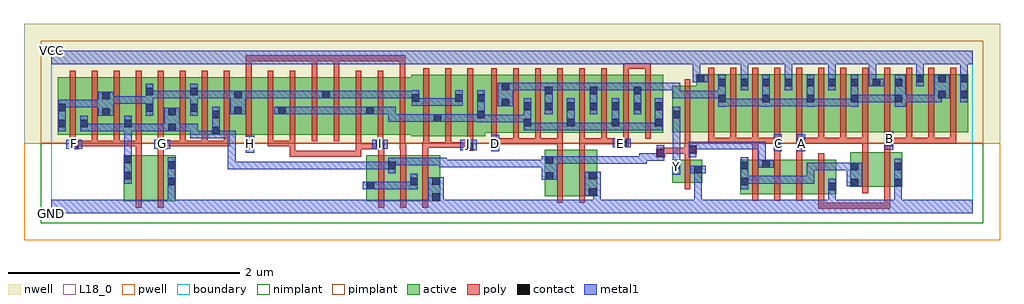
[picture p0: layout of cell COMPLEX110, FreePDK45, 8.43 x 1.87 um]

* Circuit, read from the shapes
.subckt COMPLEX110 A B C D E F G GND H I J VCC Y
M1 n1 F n2 VSUBS nfet w=0.4u l=0.05u
M2 GND G n1 VSUBS nfet w=0.4u l=0.05u
M3 n2 I n3 VSUBS nfet w=0.4u l=0.05u
M4 n3 H n2 VSUBS nfet w=0.4u l=0.05u
M5 GND J n3 VSUBS nfet w=0.4u l=0.05u
M6 n4 D n2 VSUBS nfet w=0.4u l=0.05u
M7 GND E n4 VSUBS nfet w=0.4u l=0.05u
M8 GND n2 Y VSUBS nfet w=0.2u l=0.05u
M9 n2 C n5 VSUBS nfet w=0.3u l=0.05u
M10 n6 C n2 VSUBS nfet w=0.3u l=0.05u
M11 n7 A n6 VSUBS nfet w=0.3u l=0.05u
M12 GND B n7 VSUBS nfet w=0.3u l=0.05u
M13 n8 A n5 VSUBS nfet w=0.3u l=0.05u
M14 GND B n8 VSUBS nfet w=0.3u l=0.05u
M15 n2 F n9 n10 pfet w=0.5u l=0.05u m=4
M16 n2 G n9 n10 pfet w=0.5u l=0.05u m=4
M17 n11 H n9 n10 pfet w=0.5u l=0.05u
M18 n12 I n11 n10 pfet w=0.5u l=0.05u
M19 n13 I n12 n10 pfet w=0.5u l=0.05u
M20 n9 H n13 n10 pfet w=0.5u l=0.05u
M21 n14 H n9 n10 pfet w=0.5u l=0.05u
M22 n12 I n14 n10 pfet w=0.5u l=0.05u
M23 n15 I n12 n10 pfet w=0.5u l=0.05u
M24 n9 H n15 n10 pfet w=0.5u l=0.05u
M25 n12 J n9 n10 pfet w=0.533u l=0.05u m=3
M26 n16 D n12 n10 pfet w=0.5u l=0.05u m=4
M27 n16 E n12 n10 pfet w=0.5u l=0.05u m=4
M28 VCC n2 Y n10 pfet w=0.4u l=0.05u
M29 n16 C VCC n10 pfet w=0.5u l=0.05u m=4
M30 n16 A VCC n10 pfet w=0.5u l=0.05u m=4
M31 n16 B VCC n10 pfet w=0.5u l=0.05u m=4
.ends

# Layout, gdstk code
import gdstk
lib = gdstk.Library(unit=1e-6, precision=1e-09)
def R(c, l, rs):  # rectangles x0, y0, x1, y1
    for r in rs: c.add(gdstk.rectangle(r[:2], r[2:], *l))
def A(c, l, x, y, w, h, nx, ny, dx, dy):  # array of equal rectangles
    R(c, l, [(x+i*dx, y+j*dy, x+i*dx+w, y+j*dy+h) for i in range(nx) for j in range(ny)])
active = (1, 0)
pwell = (2, 0)
nwell = (3, 0)
nimplant = (4, 0)
pimplant = (5, 0)
poly = (9, 0)
contact = (10, 0)
metal1 = (11, 0)
L18_0 = (18, 0)
boundary = (235, 0)

complex110 = lib.new_cell('COMPLEX110')
A(complex110, active, 0.055, 0.675, 0.265, 0.5, 3, 1, 0.19, 0)
A(complex110, active, 0.245, 0.675, 0.075, 0.395, 4, 1, 0.38, 0)
A(complex110, active, 1.005, 0.675, 0.265, 0.5, 3, 1, 0.19, 0)
A(complex110, active, 1.575, 0.675, 0.225, 0.5, 4, 1, 0.38, 0)
A(complex110, active, 1.8, 0.675, 0.23, 0.5, 3, 1, 0.38, 0)
R(complex110, active, [(0.625,0.1,0.85,0.5), (0.85,0.1,1.075,0.5), (1,0.1,1.075,0.5), (2.72,0.1,2.98,0.5), (2.905,0.1,3.17,0.5), (3.095,0.1,3.36,0.5), (3.285,0.1,3.36,0.5), (4.265,0.145,4.49,0.545), (4.49,0.145,4.715,0.545), (4.64,0.145,4.715,0.545), (0.625,0.147,0.73,0.5), (2.72,0.147,2.795,0.5), (2.905,0.147,2.98,0.492), (3.095,0.147,3.17,0.492), (4.265,0.147,4.37,0.545), (5.95,0.162,6.21,0.462), (6.135,0.162,6.365,0.462), (6.365,0.162,6.555,0.462), (6.555,0.162,6.78,0.462), (6.705,0.162,6.78,0.462), (5.95,0.2,6.025,0.462), (6.9,0.225,6.975,0.525), (6.9,0.225,7.125,0.525), (7.125,0.225,7.35,0.525), (7.275,0.225,7.35,0.525), (6.135,0.247,6.21,0.462), (5.365,0.262,5.44,0.462), (5.365,0.262,5.625,0.462), (5.55,0.262,5.625,0.462), (3.11,0.662,3.375,1.195), (3.3,0.662,3.56,1.195), (3.485,0.662,3.75,1.195), (0.055,0.675,0.13,1.157), (0.625,0.675,0.885,1.175), (0.81,0.675,1.08,1.175), (1.195,0.675,1.27,1.167), (1.955,0.675,2.03,1.07), (2.715,0.675,2.79,1.07), (2.94,0.675,3.185,1.175), (3.675,0.695,3.96,1.195), (3.885,0.695,4.15,1.195), (4.075,0.695,4.335,1.195), (4.075,0.695,4.15,1.07), (4.26,0.695,4.525,1.195), (4.45,0.695,4.72,1.195), (4.45,0.695,4.525,1.07), (4.645,0.695,4.91,1.195), (4.645,0.695,4.72,1.157), (4.835,0.695,5.1,1.195), (4.835,0.695,4.91,1.07), (5.025,0.695,5.285,1.195), (5.21,0.695,5.285,1.07), (5.365,0.7,5.645,1.1), (5.365,0.7,5.44,1.057), (5.57,0.7,5.645,1.2), (5.57,0.7,5.83,1.2), (5.755,0.7,6.025,1.2), (5.95,0.7,6.21,1.2), (5.95,0.7,6.025,1.167), (6.135,0.7,6.405,1.2), (6.135,0.7,6.21,1.167), (6.33,0.7,6.595,1.2), (6.52,0.7,6.78,1.2), (6.52,0.7,6.595,1.167), (6.705,0.7,6.975,1.2), (6.9,0.7,6.975,1.2), (6.9,0.7,7.165,1.2), (7.09,0.7,7.355,1.2), (7.28,0.7,7.54,1.2), (7.465,0.7,7.54,1.2), (7.465,0.7,7.73,1.2), (7.655,0.7,7.92,1.2), (7.845,0.7,7.92,1.2), (6.33,0.715,6.405,1.2), (7.09,0.747,7.165,1.2), (2.335,0.762,2.41,1.157), (3.11,0.762,3.185,1.157), (5.025,0.762,5.1,1.157), (1.575,0.765,1.65,1.167), (3.3,0.775,3.375,1.07), (3.485,0.775,3.56,1.19), (0.81,0.802,0.885,1.167), (0.435,0.807,0.51,1.167), (3.675,0.807,3.75,1.157), (3.885,0.807,3.96,1.157), (4.26,0.807,4.335,1.157), (5.755,0.807,5.83,1.165), (6.705,0.807,6.78,1.167), (7.28,0.807,7.355,1.2), (7.655,0.807,7.73,1.2)])
R(complex110, pwell, [(-0.235,-0.235,8.195,0.602)])
R(complex110, nwell, [(-0.235,0.602,8.195,1.635)])
R(complex110, nimplant, [(-0.09,-0.09,8.05,0.602)])
R(complex110, pimplant, [(-0.09,0.602,8.05,1.49)])
A(complex110, poly, 2.825, 0.045, 0.05, 0.51, 3, 1, 0.19, 0)
A(complex110, poly, 6.055, 0.107, 0.05, 0.41, 4, 1, 0.19, 0)
A(complex110, poly, 3.215, 0.562, 0.05, 0.095, 3, 1, 0.19, 0)
A(complex110, poly, 0.16, 0.575, 0.05, 0.095, 11, 1, 0.19, 0)
A(complex110, poly, 3.8, 0.595, 0.05, 0.095, 7, 1, 0.19, 0)
A(complex110, poly, 4.18, 0.595, 0.05, 0.05, 3, 1, 0.19, 0)
A(complex110, poly, 5.675, 0.6, 0.05, 0.095, 12, 1, 0.19, 0)
A(complex110, poly, 5.675, 0.6, 0.05, 0.05, 3, 1, 0.19, 0)
A(complex110, poly, 3.215, 0.607, 0.05, 0.643, 3, 1, 0.19, 0)
A(complex110, poly, 0.16, 0.62, 0.05, 0.61, 16, 1, 0.19, 0)
A(complex110, poly, 3.8, 0.64, 0.05, 0.61, 8, 1, 0.19, 0)
A(complex110, poly, 5.675, 0.645, 0.05, 0.61, 12, 1, 0.19, 0)
R(complex110, poly, [(6.625,0.037,6.675,0.087), (6.625,0.037,6.675,0.087), (6.625,0.037,6.675,0.087), (6.625,0.037,6.675,0.157), (6.625,0.037,6.922,0.087), (6.872,0.037,6.922,0.087), (6.872,0.037,6.922,0.087), (6.872,0.037,6.922,0.087), (6.872,0.037,7.112,0.087), (7.062,0.037,7.112,0.087), (7.062,0.037,7.112,0.087), (7.062,0.037,7.112,0.087), (7.062,0.037,7.245,0.087), (7.195,0.037,7.245,0.087), (7.195,0.037,7.245,0.22), (0.73,0.045,0.78,0.555), (0.92,0.045,0.97,0.555), (4.37,0.09,4.42,0.6), (4.56,0.09,4.61,0.6), (7.005,0.17,7.055,0.58), (7.195,0.17,7.245,0.58), (5.47,0.207,5.52,0.517), (5.47,0.467,5.52,0.562), (6.055,0.467,6.105,0.65), (6.245,0.467,6.295,0.625), (6.435,0.467,6.485,0.625), (5.227,0.482,5.302,0.557), (2.06,0.487,2.11,0.537), (2.06,0.487,2.11,0.537), (2.06,0.487,2.3,0.537), (2.06,0.487,2.11,0.625), (2.25,0.487,2.3,0.537), (2.25,0.487,2.547,0.537), (2.497,0.487,2.547,0.537), (2.497,0.487,2.547,0.537), (2.497,0.487,2.547,0.537), (2.497,0.487,2.68,0.537), (2.63,0.487,2.68,0.6), (0.73,0.505,0.78,0.625), (0.92,0.505,0.97,0.6), (2.825,0.505,2.875,0.6), (3.015,0.505,3.065,0.6), (3.205,0.505,3.255,0.612), (5.252,0.507,5.302,0.557), (5.252,0.507,5.302,0.562), (5.252,0.512,5.517,0.562), (5.467,0.512,5.517,0.562), (5.467,0.512,5.517,0.562), (5.467,0.512,5.577,0.587), (7.005,0.53,7.055,0.65), (7.195,0.53,7.245,0.625), (3.57,0.537,3.645,0.612), (5.47,0.537,5.52,0.695), (0.16,0.55,0.237,0.625), (0.92,0.55,0.997,0.625), (1.68,0.55,1.755,0.625), (2.63,0.55,2.68,0.6), (2.63,0.55,2.68,0.6), (2.63,0.55,2.68,0.67), (2.63,0.55,2.852,0.6), (2.802,0.55,2.852,0.6), (2.802,0.55,2.852,0.6), (2.802,0.55,2.877,0.625), (3.01,0.55,3.06,0.67), (3.01,0.55,3.065,0.6), (4.37,0.55,4.42,0.645), (4.56,0.55,4.61,0.645), (3.205,0.562,3.265,0.612), (3.215,0.562,3.265,0.612), (3.215,0.562,3.265,0.612), (3.215,0.562,3.455,0.612), (3.405,0.562,3.455,0.612), (3.405,0.562,3.455,0.612), (3.405,0.562,3.455,0.612), (3.405,0.562,3.62,0.612), (3.8,0.57,3.875,0.645), (4.9,0.57,4.99,0.645), (0.187,0.575,0.24,0.625), (0.19,0.575,0.24,0.625), (0.19,0.575,0.4,0.625), (0.35,0.575,0.4,0.625), (0.35,0.575,0.59,0.625), (0.54,0.575,0.59,0.625), (0.54,0.575,0.59,0.625), (0.54,0.575,0.59,0.625), (0.54,0.575,0.78,0.625), (0.73,0.575,0.78,0.625), (0.73,0.575,0.78,0.625), (0.73,0.575,0.78,0.625), (0.947,0.575,1.16,0.625), (1.11,0.575,1.16,0.625), (1.11,0.575,1.16,0.625), (1.11,0.575,1.16,0.625), (1.11,0.575,1.35,0.625), (1.3,0.575,1.35,0.625), (1.3,0.575,1.35,0.625), (1.3,0.575,1.35,0.625), (1.3,0.575,1.54,0.625), (1.49,0.575,1.54,0.625), (1.49,0.575,1.54,0.625), (1.49,0.575,1.54,0.625), (1.87,0.575,1.92,0.625), (1.87,0.575,1.92,0.625), (1.87,0.575,1.92,0.625), (1.87,0.575,2.11,0.625), (2.82,0.575,2.87,0.67), (6.237,0.575,6.312,0.65), (6.435,0.575,6.51,0.65), (7.195,0.575,7.27,0.65), (3.825,0.595,3.875,0.645), (3.825,0.595,3.875,0.645), (3.825,0.595,4.04,0.645), (3.99,0.595,4.04,0.645), (3.99,0.595,4.04,0.645), (3.99,0.595,4.04,0.645), (3.99,0.595,4.23,0.645), (4.18,0.595,4.23,0.645), (4.18,0.595,4.23,0.645), (4.18,0.595,4.42,0.645), (4.56,0.595,4.61,0.645), (4.56,0.595,4.61,0.645), (4.56,0.595,4.8,0.645), (4.75,0.595,4.8,0.645), (4.75,0.595,4.8,0.645), (4.75,0.595,4.8,0.645), (4.75,0.595,4.95,0.645), (5.675,0.6,5.725,0.65), (5.675,0.6,5.725,0.65), (5.675,0.6,5.915,0.65), (5.865,0.6,6.105,0.65), (6.055,0.6,6.105,0.65), (6.055,0.6,6.105,0.65), (6.055,0.6,6.287,0.65), (6.237,0.6,6.287,0.65), (6.237,0.6,6.287,0.65), (6.46,0.6,6.51,0.65), (6.46,0.6,6.51,0.65), (6.46,0.6,6.675,0.65), (6.625,0.6,6.675,0.65), (6.625,0.6,6.675,0.65), (6.625,0.6,6.675,0.65), (6.625,0.6,6.865,0.65), (6.815,0.6,6.865,0.65), (6.815,0.6,6.865,0.65), (6.815,0.6,6.865,0.65), (6.815,0.6,7.055,0.65), (7.005,0.6,7.055,0.65), (7.22,0.6,7.435,0.65), (7.385,0.6,7.435,0.65), (7.385,0.6,7.435,0.65), (7.385,0.6,7.435,0.65), (7.385,0.6,7.625,0.65), (7.575,0.6,7.625,0.65), (7.575,0.6,7.625,0.65), (7.575,0.6,7.625,0.65), (7.575,0.6,7.815,0.65), (7.765,0.6,7.815,0.65), (7.765,0.6,7.815,0.65), (7.765,0.6,7.815,0.65), (5.47,0.645,5.52,1.155), (1.68,1.18,1.73,1.362), (2.25,1.18,2.3,1.362), (2.44,1.18,2.49,1.362), (3.01,1.18,3.06,1.362), (4.94,1.2,4.99,1.295), (5.13,1.2,5.18,1.295), (4.94,1.245,4.99,1.295), (4.94,1.245,4.99,1.295), (4.94,1.245,4.99,1.295), (4.94,1.245,5.18,1.295), (5.13,1.245,5.18,1.295), (1.68,1.312,1.73,1.362), (1.68,1.312,1.73,1.362), (1.68,1.312,1.73,1.362), (1.68,1.312,1.977,1.362), (1.927,1.312,1.977,1.362), (1.927,1.312,1.977,1.362), (1.927,1.312,1.977,1.362), (1.927,1.312,2.167,1.362), (2.117,1.312,2.167,1.362), (2.117,1.312,2.3,1.362), (2.25,1.312,2.3,1.362), (2.25,1.312,2.3,1.362), (2.25,1.312,2.3,1.362), (2.25,1.312,2.49,1.362), (2.44,1.312,2.49,1.362), (2.44,1.312,2.49,1.362), (2.44,1.312,2.49,1.362), (2.44,1.312,2.68,1.362), (2.63,1.312,2.68,1.362), (2.63,1.312,2.68,1.362), (2.63,1.312,2.68,1.362), (2.63,1.312,2.812,1.362), (2.762,1.312,2.812,1.362), (2.762,1.312,2.812,1.362), (2.762,1.312,2.812,1.362), (2.762,1.312,3.06,1.362), (3.01,1.312,3.06,1.362), (3.01,1.312,3.06,1.362), (3.01,1.312,3.06,1.362)])
A(complex110, contact, 6.525, 0.955, 0.065, 0.065, 3, 1, 0.38, 0)
A(complex110, contact, 6.905, 1.095, 0.065, 0.065, 3, 1, 0.19, 0)
A(complex110, contact, 7.47, 1.13, 0.065, 0.065, 3, 1, 0.19, 0)
R(complex110, contact, [(3.29,0.105,3.355,0.17), (4.645,0.15,4.71,0.215), (6.71,0.197,6.775,0.262), (2.725,0.205,2.79,0.27), (6.905,0.23,6.97,0.295), (7.28,0.23,7.345,0.295), (3.1,0.24,3.165,0.305), (5.955,0.24,6.02,0.305), (1.005,0.242,1.07,0.307), (3.29,0.245,3.355,0.31), (4.27,0.287,4.335,0.352), (0.63,0.29,0.695,0.355), (4.645,0.29,4.71,0.355), (5.555,0.345,5.62,0.41), (6.905,0.37,6.97,0.435), (7.28,0.37,7.345,0.435), (2.91,0.377,2.975,0.442), (5.37,0.38,5.435,0.445), (5.955,0.38,6.02,0.445), (1.005,0.382,1.07,0.447), (6.14,0.392,6.205,0.457), (4.27,0.427,4.335,0.492), (0.63,0.43,0.695,0.495), (5.232,0.487,5.297,0.552), (5.507,0.517,5.572,0.582), (3.575,0.542,3.64,0.607), (0.167,0.555,0.232,0.62), (0.927,0.555,0.992,0.62), (1.685,0.555,1.75,0.62), (2.807,0.555,2.872,0.62), (3.805,0.575,3.87,0.64), (4.905,0.575,4.97,0.64), (6.242,0.58,6.307,0.645), (6.44,0.58,6.505,0.645), (7.2,0.58,7.265,0.645), (1.39,0.68,1.455,0.745), (1.01,0.705,1.075,0.77), (0.06,0.74,0.125,0.805), (0.25,0.74,0.315,0.805), (0.63,0.74,0.695,0.805), (4.08,0.75,4.145,0.815), (4.455,0.75,4.52,0.815), (4.84,0.75,4.905,0.815), (5.215,0.75,5.28,0.815), (3.305,0.787,3.37,0.852), (1.39,0.82,1.455,0.885), (3.68,0.82,3.745,0.885), (5.37,0.82,5.435,0.885), (0.44,0.842,0.505,0.907), (1.01,0.845,1.075,0.91), (1.58,0.852,1.645,0.917), (1.96,0.852,2.025,0.917), (2.72,0.852,2.785,0.917), (0.815,0.877,0.88,0.942), (1.2,0.877,1.265,0.942), (0.06,0.88,0.125,0.945), (4.265,0.887,4.33,0.952), (4.65,0.887,4.715,0.952), (5.03,0.887,5.095,0.952), (4.08,0.89,4.145,0.955), (4.455,0.89,4.52,0.955), (4.84,0.89,4.905,0.955), (5.215,0.89,5.28,0.955), (3.89,0.922,3.955,0.987), (5.76,0.955,5.825,1.02), (6.14,0.955,6.205,1.02), (3.115,0.96,3.18,1.025), (3.49,0.96,3.555,1.025), (3.68,0.96,3.745,1.025), (0.44,0.982,0.505,1.047), (2.34,0.99,2.405,1.055), (7.66,0.99,7.725,1.055), (7.85,0.99,7.915,1.055), (1.58,0.992,1.645,1.057), (0.815,1.017,0.88,1.082), (1.2,1.017,1.265,1.082), (4.265,1.027,4.33,1.092), (4.65,1.027,4.715,1.092), (5.03,1.027,5.095,1.092), (3.89,1.062,3.955,1.127), (5.76,1.095,5.825,1.16), (5.955,1.095,6.02,1.16), (6.14,1.095,6.205,1.16), (6.335,1.095,6.4,1.16), (6.525,1.095,6.59,1.16), (6.71,1.095,6.775,1.16), (5.575,1.13,5.64,1.195)])
R(complex110, metal1, [(0,0,7.96,0.115), (1.005,0.05,1.07,0.272), (3.325,0.05,3.39,0.17), (4.68,0.05,4.745,0.215), (5.555,0.05,5.62,0.41), (6.71,0.05,6.775,0.227), (7.28,0.05,7.345,0.115), (7.28,0.05,7.345,0.115), (7.28,0.05,7.345,0.26), (3.255,0.105,3.39,0.31), (4.61,0.15,4.745,0.355), (6.71,0.162,6.775,0.297), (6.71,0.162,6.775,0.232), (6.71,0.167,6.775,0.232), (7.28,0.195,7.345,0.47), (2.69,0.205,2.825,0.27), (2.76,0.205,2.837,0.27), (2.772,0.205,2.837,0.27), (2.772,0.205,2.975,0.27), (2.91,0.205,2.975,0.27), (2.91,0.205,2.975,0.27), (2.91,0.205,2.975,0.27), (2.91,0.205,3.165,0.27), (3.1,0.205,3.165,0.34), (5.955,0.205,6.02,0.48), (1.005,0.207,1.07,0.482), (6.87,0.23,7.005,0.435), (0.63,0.255,0.695,0.53), (5.955,0.255,6.17,0.32), (6.105,0.255,6.17,0.32), (6.105,0.255,6.17,0.32), (6.105,0.255,6.17,0.32), (6.105,0.255,6.307,0.32), (6.242,0.255,6.307,0.32), (6.242,0.255,6.342,0.32), (6.277,0.255,6.342,0.32), (6.277,0.255,6.445,0.32), (6.38,0.255,6.445,0.32), (6.38,0.255,6.59,0.32), (6.525,0.255,6.59,0.37), (4.235,0.287,4.37,0.492), (6.525,0.305,6.59,0.37), (6.525,0.305,6.59,0.435), (5.367,0.332,5.435,0.48), (2.91,0.342,2.975,0.477), (5.52,0.345,5.655,0.41), (5.555,0.345,5.62,0.41), (5.555,0.345,5.62,0.41), (5.555,0.345,5.62,0.41), (5.555,0.345,5.62,0.41), (6.525,0.37,6.727,0.435), (6.662,0.37,6.727,0.435), (6.662,0.37,6.935,0.435), (6.87,0.37,6.935,0.435), (6.87,0.37,6.935,0.435), (1.527,0.38,1.592,0.445), (1.527,0.38,1.752,0.445), (1.527,0.38,1.592,0.71), (1.687,0.38,1.752,0.445), (1.687,0.38,1.817,0.445), (1.752,0.38,1.817,0.445), (1.752,0.38,1.922,0.445), (1.857,0.38,1.922,0.445), (1.857,0.38,2.06,0.445), (1.995,0.38,2.06,0.445), (1.995,0.38,2.06,0.445), (1.995,0.38,2.06,0.445), (1.995,0.38,2.197,0.445), (2.132,0.38,2.197,0.445), (2.132,0.38,2.197,0.445), (2.132,0.38,2.197,0.445), (2.132,0.38,2.475,0.445), (2.41,0.38,2.475,0.445), (2.41,0.38,2.475,0.445), (2.41,0.38,2.475,0.445), (2.41,0.38,2.612,0.445), (2.547,0.38,2.612,0.445), (2.547,0.38,2.612,0.445), (2.547,0.38,2.612,0.445), (2.547,0.38,2.837,0.445), (2.772,0.38,2.837,0.445), (2.772,0.38,2.837,0.445), (2.772,0.38,2.837,0.445), (2.772,0.38,2.975,0.445), (6.105,0.392,6.24,0.457), (6.105,0.392,6.17,0.617), (3.352,0.395,3.555,0.46), (3.352,0.395,3.417,0.477), (3.49,0.395,3.555,0.46), (3.49,0.395,3.692,0.46), (3.627,0.395,3.692,0.46), (3.627,0.395,3.692,0.46), (3.627,0.395,3.692,0.46), (3.627,0.395,3.882,0.46), (3.817,0.395,3.882,0.46), (3.817,0.395,3.882,0.46), (3.817,0.395,3.882,0.46), (3.817,0.395,4.02,0.46), (3.955,0.395,4.02,0.46), (3.955,0.395,4.137,0.46), (4.072,0.395,4.137,0.46), (4.072,0.395,4.192,0.46), (4.127,0.395,4.192,0.46), (4.127,0.395,4.3,0.46), (2.91,0.412,2.975,0.477), (2.91,0.412,2.975,0.477), (2.91,0.412,3.182,0.477), (3.117,0.412,3.182,0.477), (3.117,0.412,3.182,0.477), (3.117,0.412,3.182,0.477), (3.117,0.412,3.417,0.477), (3.352,0.412,3.417,0.477), (3.352,0.412,3.417,0.477), (5.37,0.415,5.435,0.48), (5.37,0.415,5.435,0.48), (5.37,0.415,5.435,0.48), (5.37,0.415,5.435,0.48), (5.37,0.415,5.435,0.85), (4.305,0.427,4.37,0.492), (4.305,0.427,4.37,0.492), (4.305,0.427,4.507,0.492), (4.442,0.427,4.507,0.492), (4.442,0.427,4.507,0.492), (4.442,0.427,4.507,0.492), (4.442,0.427,4.767,0.492), (4.702,0.427,4.767,0.492), (4.702,0.427,4.767,0.492), (4.702,0.427,4.767,0.492), (4.702,0.427,4.957,0.492), (4.892,0.427,4.957,0.492), (4.892,0.427,5.142,0.492), (5.077,0.427,5.142,0.492), (5.077,0.427,5.142,0.492), (5.077,0.427,5.142,0.492), (5.077,0.427,5.142,0.517), (5.077,0.452,5.142,0.517), (5.077,0.452,5.297,0.517), (5.232,0.452,5.297,0.587), (0.63,0.465,0.695,0.53), (0.63,0.465,0.695,0.53), (0.63,0.465,0.695,0.53), (0.63,0.465,0.695,0.53), (0.63,0.465,0.695,0.77), (5.507,0.482,5.572,0.617), (1.682,0.52,1.752,0.667), (3.8,0.532,3.872,0.677), (6.242,0.532,6.312,0.68), (6.44,0.532,6.512,0.68), (3.532,0.542,3.675,0.632), (7.2,0.545,7.272,0.707), (5.507,0.552,5.572,0.617), (5.507,0.552,5.572,0.617), (5.507,0.552,5.71,0.617), (5.645,0.552,5.71,0.617), (5.645,0.552,5.882,0.617), (5.817,0.552,5.882,0.617), (5.817,0.552,5.882,0.617), (5.817,0.552,5.882,0.617), (5.817,0.552,6.032,0.617), (5.967,0.552,6.032,0.617), (5.967,0.552,6.17,0.617), (6.105,0.552,6.17,0.617), (6.105,0.552,6.17,0.617), (6.105,0.552,6.17,0.617), (0.132,0.555,0.267,0.632), (0.892,0.555,1.027,0.632), (2.772,0.555,2.907,0.632), (4.852,0.567,5.005,0.64), (1.2,0.645,1.265,0.71), (1.2,0.645,1.265,0.71), (1.2,0.645,1.455,0.71), (1.2,0.645,1.265,0.77), (1.39,0.645,1.455,0.92), (1.39,0.645,1.592,0.71), (1.527,0.645,1.592,0.71), (1.527,0.645,1.592,0.71), (1.527,0.645,1.592,0.71), (1.527,0.645,1.592,0.71), (1.527,0.645,1.592,0.71), (1.527,0.645,1.592,0.71), (1.527,0.645,1.592,0.71), (1.527,0.645,1.592,0.71), (1.527,0.645,1.592,0.71), (0.06,0.705,0.125,0.98), (0.25,0.705,0.315,0.77), (0.25,0.705,0.315,0.77), (0.25,0.705,0.315,0.84), (0.25,0.705,0.557,0.77), (0.492,0.705,0.557,0.77), (0.492,0.705,0.557,0.77), (0.492,0.705,0.557,0.77), (0.492,0.705,0.695,0.77), (0.63,0.705,0.695,0.77), (0.63,0.705,0.695,0.77), (0.63,0.705,0.695,0.77), (0.63,0.705,0.695,0.77), (0.63,0.705,0.695,0.84), (0.63,0.705,0.832,0.77), (0.767,0.705,0.832,0.77), (0.767,0.705,0.832,0.77), (0.767,0.705,0.832,0.77), (0.767,0.705,1.04,0.77), (0.975,0.705,1.11,0.91), (1.045,0.705,1.11,0.77), (1.045,0.705,1.11,0.77), (1.045,0.705,1.265,0.77), (4.08,0.715,4.145,0.99), (4.08,0.715,4.157,0.78), (4.092,0.715,4.157,0.78), (4.092,0.715,4.37,0.78), (4.305,0.715,4.37,0.78), (4.305,0.715,4.37,0.78), (4.305,0.715,4.37,0.78), (4.305,0.715,4.52,0.78), (4.455,0.715,4.52,0.78), (4.455,0.715,4.52,0.78), (4.455,0.715,4.52,0.99), (4.455,0.715,4.767,0.78), (4.702,0.715,4.767,0.78), (4.702,0.715,4.767,0.78), (4.702,0.715,4.767,0.78), (4.702,0.715,4.905,0.78), (4.84,0.715,4.905,0.78), (4.84,0.715,4.905,0.78), (4.84,0.715,4.905,0.99), (4.84,0.715,5.142,0.78), (5.077,0.715,5.142,0.78), (5.077,0.715,5.28,0.78), (5.215,0.715,5.28,0.78), (5.215,0.715,5.28,0.78), (5.215,0.715,5.28,0.99), (3.68,0.785,3.745,1.06), (3.68,0.785,3.882,0.85), (3.817,0.785,3.882,0.85), (3.817,0.785,3.882,0.85), (3.817,0.785,3.882,0.85), (3.817,0.785,4.02,0.85), (3.955,0.785,4.02,0.85), (3.955,0.785,4.145,0.85), (5.37,0.785,5.435,0.92), (2.91,0.787,2.975,0.852), (2.91,0.787,2.975,0.852), (2.91,0.787,3.182,0.852), (2.91,0.787,2.975,0.917), (3.117,0.787,3.182,0.852), (3.117,0.787,3.267,0.852), (3.202,0.787,3.267,0.852), (3.202,0.787,3.335,0.852), (3.27,0.787,3.405,0.852), (3.34,0.787,3.405,0.852), (3.34,0.787,3.405,0.852), (3.34,0.787,3.555,0.852), (3.49,0.787,3.555,0.852), (3.49,0.787,3.555,0.852), (3.49,0.787,3.555,0.852), (3.49,0.787,3.745,0.852), (0.405,0.842,0.54,1.047), (0.815,0.842,0.88,1.117), (1.2,0.842,1.265,1.117), (1.545,0.852,1.68,1.057), (1.925,0.852,2.06,0.917), (1.995,0.852,2.06,0.917), (1.995,0.852,2.06,0.917), (1.995,0.852,2.232,0.917), (2.167,0.852,2.232,0.917), (2.167,0.852,2.232,0.917), (2.167,0.852,2.232,0.917), (2.167,0.852,2.37,0.917), (2.305,0.852,2.37,0.917), (2.305,0.852,2.37,0.917), (2.305,0.852,2.37,0.917), (2.305,0.852,2.612,0.917), (2.547,0.852,2.612,0.917), (2.547,0.852,2.612,0.917), (2.547,0.852,2.612,0.917), (2.547,0.852,2.75,0.917), (2.685,0.852,2.82,0.917), (2.755,0.852,2.82,0.917), (2.755,0.852,2.82,0.917), (2.755,0.852,2.975,0.917), (4.265,0.852,4.33,1.127), (4.65,0.852,4.715,1.127), (5.03,0.852,5.095,1.127), (0.06,0.912,0.125,0.977), (0.06,0.912,0.125,0.977), (0.06,0.912,0.332,0.977), (0.267,0.912,0.332,0.977), (0.267,0.912,0.332,0.977), (0.267,0.912,0.332,0.977), (0.267,0.912,0.47,0.977), (5.76,0.92,5.825,1.195), (6.14,0.92,6.205,1.195), (6.525,0.92,6.59,1.195), (6.905,0.92,6.97,1.195), (7.285,0.92,7.38,1.195), (3.855,0.922,3.99,1.127), (5.76,0.922,6.032,0.987), (5.967,0.922,6.032,0.987), (5.967,0.922,6.032,0.987), (5.967,0.922,6.032,0.987), (5.967,0.922,6.17,0.987), (6.105,0.922,6.17,0.987), (6.105,0.922,6.205,0.987), (6.14,0.922,6.307,0.987), (6.242,0.922,6.307,0.987), (6.242,0.922,6.452,0.987), (6.387,0.922,6.452,0.987), (6.387,0.922,6.452,0.987), (6.387,0.922,6.452,0.987), (6.387,0.922,6.59,0.987), (6.525,0.922,6.59,0.987), (6.525,0.922,6.59,0.987), (6.525,0.922,6.797,0.987), (6.732,0.922,6.797,0.987), (6.732,0.922,6.797,0.987), (6.732,0.922,6.797,0.987), (6.732,0.922,6.97,0.987), (3.115,0.925,3.18,0.99), (3.115,0.925,3.18,0.99), (3.115,0.925,3.18,1.06), (3.115,0.925,3.417,0.99), (3.352,0.925,3.417,0.99), (3.352,0.925,3.417,0.99), (3.352,0.925,3.417,0.99), (3.352,0.925,3.555,0.99), (3.49,0.925,3.555,1.06), (0.475,0.942,0.54,1.007), (0.475,0.942,0.54,1.007), (0.475,0.942,0.695,1.007), (0.63,0.942,0.695,1.007), (0.63,0.942,0.695,1.007), (0.63,0.942,0.695,1.007), (0.63,0.942,0.88,1.007), (7.85,0.955,7.915,1.23), (6.905,0.957,7.072,1.022), (7.007,0.957,7.072,1.022), (7.007,0.957,7.172,1.022), (7.107,0.957,7.172,1.022), (7.107,0.957,7.21,1.022), (7.145,0.957,7.21,1.022), (7.145,0.957,7.35,1.022), (7.315,0.957,7.38,1.022), (7.315,0.957,7.38,1.022), (7.315,0.957,7.552,1.022), (7.487,0.957,7.552,1.022), (7.487,0.957,7.69,1.022), (7.625,0.957,7.69,1.055), (1.615,0.99,1.782,1.055), (1.717,0.99,1.782,1.055), (1.717,0.99,1.817,1.055), (1.752,0.99,1.817,1.055), (1.752,0.99,1.922,1.055), (1.857,0.99,1.922,1.055), (1.857,0.99,2.06,1.055), (1.995,0.99,2.06,1.055), (1.995,0.99,2.06,1.055), (1.995,0.99,2.06,1.055), (1.995,0.99,2.197,1.055), (2.132,0.99,2.197,1.055), (2.132,0.99,2.197,1.055), (2.132,0.99,2.197,1.055), (2.132,0.99,2.37,1.055), (2.305,0.99,2.44,1.055), (2.375,0.99,2.44,1.055), (2.375,0.99,2.44,1.055), (2.375,0.99,2.612,1.055), (2.547,0.99,2.612,1.055), (2.547,0.99,2.612,1.055), (2.547,0.99,2.612,1.055), (2.547,0.99,2.837,1.055), (2.772,0.99,2.837,1.055), (2.772,0.99,2.837,1.055), (2.772,0.99,2.837,1.055), (2.772,0.99,2.975,1.055), (2.91,0.99,2.975,1.055), (2.91,0.99,2.975,1.055), (2.91,0.99,2.975,1.055), (2.91,0.99,3.18,1.055), (7.625,0.99,7.69,1.055), (7.625,0.99,7.76,1.195), (0.815,0.992,0.88,1.057), (0.815,0.992,0.88,1.057), (0.815,0.992,1.127,1.057), (1.062,0.992,1.127,1.057), (1.062,0.992,1.127,1.057), (1.062,0.992,1.127,1.057), (1.062,0.992,1.265,1.057), (1.2,0.992,1.402,1.057), (1.337,0.992,1.402,1.057), (1.337,0.992,1.402,1.057), (1.337,0.992,1.402,1.057), (1.337,0.992,1.61,1.057), (1.545,0.992,1.61,1.057), (1.545,0.992,1.61,1.057), (5.37,0.992,5.602,1.057), (5.37,0.992,5.435,1.082), (5.537,0.992,5.602,1.057), (5.537,0.992,5.71,1.057), (5.645,0.992,5.71,1.057), (5.645,0.992,5.825,1.057), (5.37,1.017,5.435,1.082), (5.37,1.017,5.435,1.082), (5.37,1.017,5.435,1.127), (5.955,1.06,6.02,1.195), (6.335,1.06,6.4,1.195), (6.71,1.06,6.775,1.195), (3.925,1.062,4.02,1.127), (3.955,1.062,4.02,1.127), (3.955,1.062,4.162,1.127), (4.097,1.062,4.162,1.127), (4.097,1.062,4.162,1.127), (4.097,1.062,4.162,1.127), (4.097,1.062,4.33,1.127), (4.265,1.062,4.33,1.127), (4.265,1.062,4.33,1.127), (4.265,1.062,4.537,1.127), (4.472,1.062,4.537,1.127), (4.472,1.062,4.537,1.127), (4.472,1.062,4.537,1.127), (4.472,1.062,4.715,1.127), (4.65,1.062,4.715,1.127), (4.65,1.062,4.715,1.127), (4.65,1.062,4.957,1.127), (4.892,1.062,4.957,1.127), (4.892,1.062,5.095,1.127), (5.03,1.062,5.095,1.127), (5.03,1.062,5.095,1.127), (5.03,1.062,5.28,1.127), (5.215,1.062,5.28,1.127), (5.215,1.062,5.28,1.127), (5.215,1.062,5.28,1.127), (5.215,1.062,5.435,1.127), (5.37,1.062,5.435,1.127), (7.06,1.095,7.125,1.16), (7.06,1.095,7.125,1.16), (7.06,1.095,7.125,1.35), (7.06,1.095,7.195,1.16), (7.47,1.095,7.535,1.23), (5.54,1.13,5.675,1.195), (5.54,1.13,5.605,1.35), (5.955,1.13,6.02,1.195), (5.955,1.13,6.02,1.195), (5.955,1.13,6.02,1.35), (6.335,1.13,6.4,1.35), (6.71,1.13,6.775,1.202), (6.71,1.137,6.775,1.202), (6.71,1.137,6.775,1.35), (7.47,1.165,7.535,1.35), (7.85,1.165,7.915,1.35), (0,1.285,7.96,1.4), (5.54,1.285,5.605,1.35), (5.54,1.285,5.605,1.35), (6.335,1.285,6.4,1.35), (6.335,1.285,6.4,1.35), (7.47,1.285,7.535,1.35), (7.47,1.285,7.535,1.35), (7.85,1.285,7.915,1.35), (7.85,1.285,7.915,1.35)])
A(complex110, L18_0, 0.167, 0.567, 0.065, 0.065, 3, 1, 0.76, 0)
R(complex110, L18_0, [(0,0,7.96,0.115), (1.005,0.05,1.07,0.272), (3.325,0.05,3.39,0.17), (4.68,0.05,4.745,0.215), (5.555,0.05,5.62,0.41), (6.71,0.05,6.775,0.227), (7.28,0.05,7.345,0.115), (7.28,0.05,7.345,0.115), (7.28,0.05,7.345,0.26), (3.255,0.105,3.39,0.31), (4.61,0.15,4.745,0.355), (6.71,0.162,6.775,0.297), (6.71,0.162,6.775,0.232), (6.71,0.167,6.775,0.232), (7.28,0.195,7.345,0.47), (1.005,0.207,1.07,0.482), (5.367,0.332,5.435,0.48), (5.52,0.345,5.655,0.41), (5.555,0.345,5.62,0.41), (5.555,0.345,5.62,0.41), (5.555,0.345,5.62,0.41), (5.555,0.345,5.62,0.41), (5.367,0.367,5.432,0.432), (5.37,0.415,5.435,0.48), (5.37,0.415,5.435,0.48), (5.37,0.415,5.435,0.48), (5.37,0.415,5.435,0.48), (5.37,0.415,5.435,0.85), (1.682,0.52,1.752,0.667), (3.8,0.532,3.872,0.677), (6.242,0.532,6.312,0.68), (6.44,0.532,6.512,0.68), (3.532,0.542,3.675,0.632), (7.2,0.545,7.272,0.707), (0.132,0.555,0.267,0.632), (0.892,0.555,1.027,0.632), (2.772,0.555,2.907,0.632), (2.807,0.567,2.872,0.632), (3.567,0.567,3.632,0.632), (3.807,0.567,3.872,0.632), (4.852,0.567,5.005,0.64), (4.887,0.567,4.952,0.632), (6.247,0.567,6.312,0.632), (6.447,0.567,6.512,0.632), (7.207,0.607,7.272,0.672), (5.37,0.785,5.435,0.92), (7.85,0.955,7.915,1.23), (5.955,1.06,6.02,1.195), (6.335,1.06,6.4,1.195), (6.71,1.06,6.775,1.195), (7.06,1.095,7.125,1.16), (7.06,1.095,7.125,1.16), (7.06,1.095,7.195,1.16), (7.06,1.095,7.125,1.35), (7.47,1.095,7.535,1.23), (5.54,1.13,5.675,1.195), (5.54,1.13,5.605,1.35), (5.955,1.13,6.02,1.195), (5.955,1.13,6.02,1.195), (5.955,1.13,6.02,1.35), (6.335,1.13,6.4,1.35), (6.71,1.13,6.775,1.202), (6.71,1.137,6.775,1.202), (6.71,1.137,6.775,1.35), (7.47,1.165,7.535,1.35), (7.85,1.165,7.915,1.35), (0,1.285,7.96,1.4), (5.54,1.285,5.605,1.35), (5.54,1.285,5.605,1.35), (6.335,1.285,6.4,1.35), (6.335,1.285,6.4,1.35), (7.47,1.285,7.535,1.35), (7.47,1.285,7.535,1.35), (7.85,1.285,7.915,1.35), (7.85,1.285,7.915,1.35)])
R(complex110, boundary, [(0,0,7.96,1.4)])
complex110.add(gdstk.Label('A', (6.48,0.6), layer=11, texttype=0))
complex110.add(gdstk.Label('B', (7.24,0.64), layer=11, texttype=0))
complex110.add(gdstk.Label('C', (6.28,0.6), layer=11, texttype=0))
complex110.add(gdstk.Label('D', (3.84,0.6), layer=11, texttype=0))
complex110.add(gdstk.Label('E', (4.92,0.6), layer=11, texttype=0))
complex110.add(gdstk.Label('F', (0.2,0.6), layer=11, texttype=0))
complex110.add(gdstk.Label('G', (0.96,0.6), layer=11, texttype=0))
complex110.add(gdstk.Label('H', (1.72,0.6), layer=11, texttype=0))
complex110.add(gdstk.Label('I', (2.84,0.6), layer=11, texttype=0))
complex110.add(gdstk.Label('J', (3.6,0.6), layer=11, texttype=0))
complex110.add(gdstk.Label('Y', (5.4,0.4), layer=11, texttype=0))
complex110.add(gdstk.Label('VCC', (0,1.4), layer=11, texttype=0))
complex110.add(gdstk.Label('GND', (0,0), layer=11, texttype=0))

lib.write_gds('COMPLEX110.gds')
